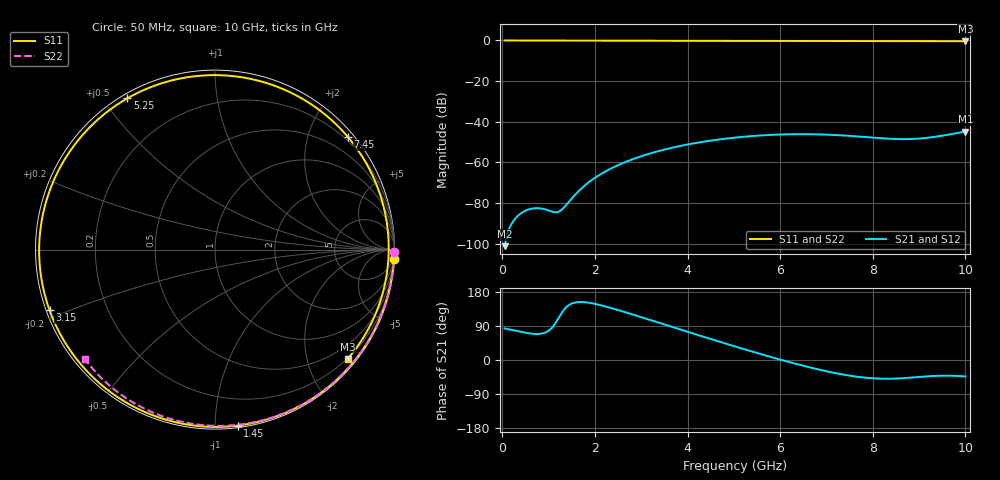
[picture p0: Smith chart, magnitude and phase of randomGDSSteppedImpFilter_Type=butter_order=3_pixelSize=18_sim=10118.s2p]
! freq	dB(S11)	phase(S11)	dB(S12)	phase(S12)
!  dB(S21)	phase(S21)	dB(S22)	phase(S22)
!S-par simulation data
#  GHz  S  DB  R 50
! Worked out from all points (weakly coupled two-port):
!   200 points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, 50 MHz to 10 GHz, reference 50 ohm
!   highest |S21| = -44.83 dB at 10 GHz (marker M1); lowest = -101.2 dB at 50 MHz (marker M2)
!   lowest |S11| = -0.4 dB at 10 GHz (marker M3), VSWR 46.18, Z = 9.44 - j139 ohm
!   |S11| at or under -10 dB: nowhere
!   |S22| runs from -0.5 to 0.0 dB; largest |S21 - S12| = 0
!   S11 on the Smith chart (normalised r, x): 50 MHz: 1, -39; 1.45 GHz: 0.01, -1.14; 3.15 GHz: 0.01, -0.18; 5.25 GHz: 0.02, +0.58; 7.45 GHz: 0.13, +2.72; 10 GHz: 0.19, -2.77
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0.05  -0.01 -2.9  -101.22 83.5  -101.22 83.5  -0.00 -0.8
0.4  -0.04 -23.9  -85.09 74.5  -85.09 74.5  -0.01 -6.4
0.8  -0.06 -47.2  -82.58 68.9  -82.58 68.9  -0.02 -12.9
1.1  -0.08 -64.0  -84.41 89.2  -84.41 89.2  -0.02 -17.7
1.4  -0.09 -80.0  -80.41 141.5  -80.41 141.5  -0.03 -22.4
1.45  -0.10 -82.6  -79.06 146.0  -79.06 146.0  -0.03 -23.2
1.75  -0.11 -97.8  -71.96 152.8  -71.96 152.8  -0.04 -27.9
2.1  -0.13 -114.5  -66.13 145.3  -66.13 145.3  -0.04 -33.4
2.5  -0.14 -132.6  -61.34 131.8  -61.34 131.8  -0.05 -39.5
3.15  -0.16 -159.9  -55.88 107.3  -55.88 107.3  -0.06 -49.4
3.4  -0.17 -169.9  -54.28 97.6  -54.28 97.6  -0.07 -53.1
3.8  -0.18 174.5  -52.12 82.2  -52.12 82.2  -0.08 -59.0
4.2  -0.20 159.2  -50.37 66.8  -50.37 66.8  -0.09 -64.7
5.05  -0.22 127.5  -47.74 34.9  -47.74 34.9  -0.12 -76.7
5.25  -0.23 120.1  -47.31 27.5  -47.31 27.5  -0.12 -79.5
5.95  -0.24 94.3  -46.32 2.8  -46.32 2.8  -0.15 -88.9
6.7  -0.25 67.0  -46.15 -21.3  -46.15 -21.3  -0.19 -98.8
7.45  -0.26 40.4  -46.88 -40.3  -46.88 -40.3  -0.24 -108.4
7.9  -0.27 24.9  -47.64 -47.3  -47.64 -47.3  -0.27 -114.1
8.35  -0.27 10.0  -48.36 -49.5  -48.36 -49.5  -0.31 -119.7
9.1  -0.30 -13.6  -48.09 -43.7  -48.09 -43.7  -0.38 -128.9
10  -0.38 -39.5  -44.83 -43.3  -44.83 -43.3  -0.47 -139.9
